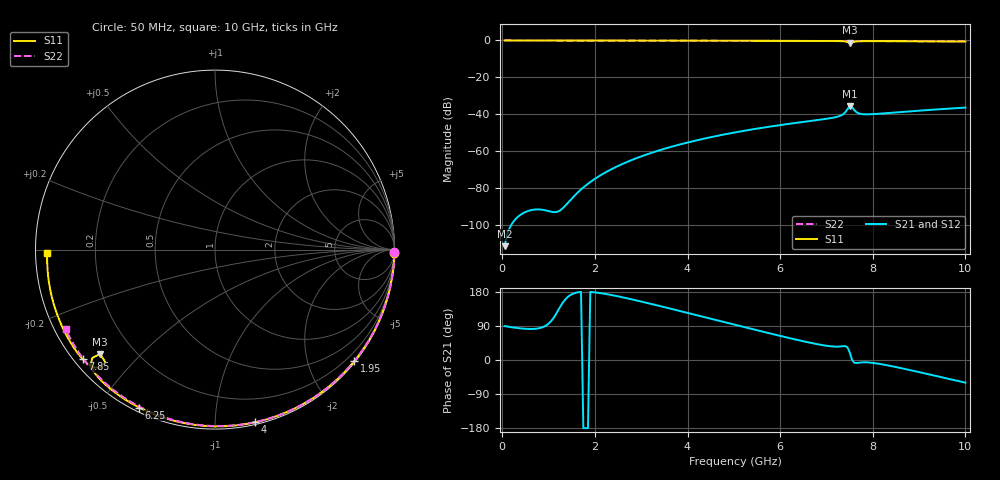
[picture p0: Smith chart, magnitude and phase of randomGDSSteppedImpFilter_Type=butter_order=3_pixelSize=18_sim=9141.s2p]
! freq	dB(S11)	phase(S11)	dB(S12)	phase(S12)
!  dB(S21)	phase(S21)	dB(S22)	phase(S22)
!S-par simulation data
#  GHz  S  DB  R 50
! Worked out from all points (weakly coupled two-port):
!   200 points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, 50 MHz to 10 GHz, reference 50 ohm
!   highest |S21| = -35.55 dB at 7.5 GHz (marker M1); lowest = -111.4 dB at 50 MHz (marker M2)
!   lowest |S11| = -1.3 dB at 7.5 GHz (marker M3), VSWR 13.79, Z = 4.16 - j19.2 ohm
!   |S11| at or under -10 dB: nowhere
!   |S22| runs from -0.5 to 0.0 dB; largest |S21 - S12| = 0
!   S11 on the Smith chart (normalised r, x): 50 MHz: open; 1.95 GHz: 0.03, -2.84; 4 GHz: 0.02, -1.26; 6.25 GHz: 0.02, -0.63; 7.85 GHz: 0.02, -0.36; 10 GHz: 0.03, -0.01
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0.05  -0.00 -1.0  -111.36 89.5  -111.36 89.5  -0.00 -0.9
0.9  -0.02 -18.1  -91.78 88.1  -91.78 88.1  -0.02 -15.8
1.7  -0.04 -33.9  -80.66 179.7  -80.66 179.7  -0.04 -29.5
1.75  -0.04 -34.9  -79.58 -179.9  -79.58 -179.9  -0.04 -30.3
1.95  -0.05 -38.8  -75.75 179.1  -75.75 179.1  -0.04 -33.7
2.25  -0.06 -44.6  -71.12 173.9  -71.12 173.9  -0.05 -38.8
2.6  -0.07 -51.2  -66.79 165.3  -66.79 165.3  -0.06 -44.6
3.4  -0.09 -66.1  -59.40 142.5  -59.40 142.5  -0.08 -57.6
4  -0.11 -76.9  -55.25 124.3  -55.25 124.3  -0.09 -67.1
5.05  -0.15 -95.3  -49.66 92.2  -49.66 92.2  -0.13 -83.1
6.25  -0.21 -115.6  -44.93 56.4  -44.93 56.4  -0.18 -100.5
6.7  -0.24 -123.2  -43.44 44.2  -43.44 44.2  -0.21 -106.9
7.3  -0.36 -134.5  -40.74 35.7  -40.74 35.7  -0.25 -115.2
7.4  -0.53 -137.2  -39.04 36.7  -39.04 36.7  -0.26 -116.6
7.45  -0.79 -138.6  -37.37 34.0  -37.37 34.0  -0.26 -117.3
7.5  -1.26 -137.8  -35.55 21.0  -35.55 21.0  -0.26 -117.9
7.55  -1.15 -134.2  -35.94 1.1  -35.94 1.1  -0.26 -118.6
7.65  -0.54 -135.7  -38.87 -8.1  -38.87 -8.1  -0.27 -120.0
7.85  -0.38 -140.4  -39.99 -6.1  -39.99 -6.1  -0.29 -122.7
8.35  -0.39 -149.5  -39.25 -14.8  -39.25 -14.8  -0.33 -129.5
9.2  -0.48 -164.4  -37.64 -37.5  -37.64 -37.5  -0.42 -141.1
10  -0.59 -179.0  -36.35 -59.9  -36.35 -59.9  -0.51 -152.0
